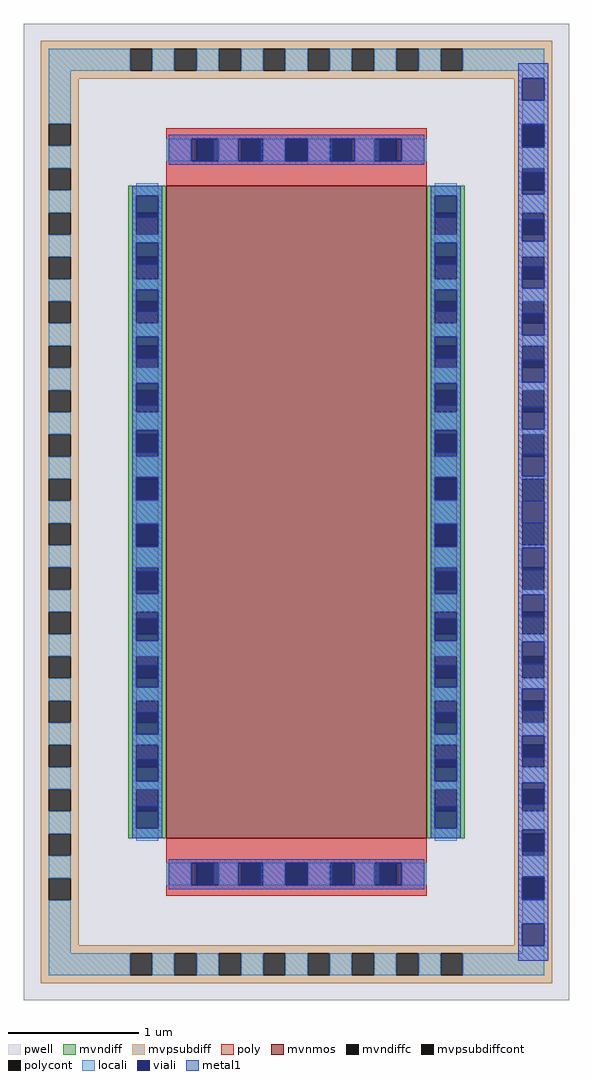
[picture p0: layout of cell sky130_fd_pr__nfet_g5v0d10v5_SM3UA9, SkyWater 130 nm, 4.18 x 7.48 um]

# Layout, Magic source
magic
tech sky130A
magscale 1 2
<< pwell >>
rect -418 -748 418 748
<< mvnmos >>
rect -200 -500 200 500
<< mvndiff >>
rect -258 459 -200 500
rect -258 425 -246 459
rect -212 425 -200 459
rect -258 391 -200 425
rect -258 357 -246 391
rect -212 357 -200 391
rect -258 323 -200 357
rect -258 289 -246 323
rect -212 289 -200 323
rect -258 255 -200 289
rect -258 221 -246 255
rect -212 221 -200 255
rect -258 187 -200 221
rect -258 153 -246 187
rect -212 153 -200 187
rect -258 119 -200 153
rect -258 85 -246 119
rect -212 85 -200 119
rect -258 51 -200 85
rect -258 17 -246 51
rect -212 17 -200 51
rect -258 -17 -200 17
rect -258 -51 -246 -17
rect -212 -51 -200 -17
rect -258 -85 -200 -51
rect -258 -119 -246 -85
rect -212 -119 -200 -85
rect -258 -153 -200 -119
rect -258 -187 -246 -153
rect -212 -187 -200 -153
rect -258 -221 -200 -187
rect -258 -255 -246 -221
rect -212 -255 -200 -221
rect -258 -289 -200 -255
rect -258 -323 -246 -289
rect -212 -323 -200 -289
rect -258 -357 -200 -323
rect -258 -391 -246 -357
rect -212 -391 -200 -357
rect -258 -425 -200 -391
rect -258 -459 -246 -425
rect -212 -459 -200 -425
rect -258 -500 -200 -459
rect 200 459 258 500
rect 200 425 212 459
rect 246 425 258 459
rect 200 391 258 425
rect 200 357 212 391
rect 246 357 258 391
rect 200 323 258 357
rect 200 289 212 323
rect 246 289 258 323
rect 200 255 258 289
rect 200 221 212 255
rect 246 221 258 255
rect 200 187 258 221
rect 200 153 212 187
rect 246 153 258 187
rect 200 119 258 153
rect 200 85 212 119
rect 246 85 258 119
rect 200 51 258 85
rect 200 17 212 51
rect 246 17 258 51
rect 200 -17 258 17
rect 200 -51 212 -17
rect 246 -51 258 -17
rect 200 -85 258 -51
rect 200 -119 212 -85
rect 246 -119 258 -85
rect 200 -153 258 -119
rect 200 -187 212 -153
rect 246 -187 258 -153
rect 200 -221 258 -187
rect 200 -255 212 -221
rect 246 -255 258 -221
rect 200 -289 258 -255
rect 200 -323 212 -289
rect 246 -323 258 -289
rect 200 -357 258 -323
rect 200 -391 212 -357
rect 246 -391 258 -357
rect 200 -425 258 -391
rect 200 -459 212 -425
rect 246 -459 258 -425
rect 200 -500 258 -459
<< mvndiffc >>
rect -246 425 -212 459
rect -246 357 -212 391
rect -246 289 -212 323
rect -246 221 -212 255
rect -246 153 -212 187
rect -246 85 -212 119
rect -246 17 -212 51
rect -246 -51 -212 -17
rect -246 -119 -212 -85
rect -246 -187 -212 -153
rect -246 -255 -212 -221
rect -246 -323 -212 -289
rect -246 -391 -212 -357
rect -246 -459 -212 -425
rect 212 425 246 459
rect 212 357 246 391
rect 212 289 246 323
rect 212 221 246 255
rect 212 153 246 187
rect 212 85 246 119
rect 212 17 246 51
rect 212 -51 246 -17
rect 212 -119 246 -85
rect 212 -187 246 -153
rect 212 -255 246 -221
rect 212 -323 246 -289
rect 212 -391 246 -357
rect 212 -459 246 -425
<< mvpsubdiff >>
rect -392 710 392 722
rect -392 676 -255 710
rect -221 676 -187 710
rect -153 676 -119 710
rect -85 676 -51 710
rect -17 676 17 710
rect 51 676 85 710
rect 119 676 153 710
rect 187 676 221 710
rect 255 676 392 710
rect -392 664 392 676
rect -392 595 -334 664
rect -392 561 -380 595
rect -346 561 -334 595
rect 334 595 392 664
rect -392 527 -334 561
rect -392 493 -380 527
rect -346 493 -334 527
rect 334 561 346 595
rect 380 561 392 595
rect 334 527 392 561
rect -392 459 -334 493
rect -392 425 -380 459
rect -346 425 -334 459
rect -392 391 -334 425
rect -392 357 -380 391
rect -346 357 -334 391
rect -392 323 -334 357
rect -392 289 -380 323
rect -346 289 -334 323
rect -392 255 -334 289
rect -392 221 -380 255
rect -346 221 -334 255
rect -392 187 -334 221
rect -392 153 -380 187
rect -346 153 -334 187
rect -392 119 -334 153
rect -392 85 -380 119
rect -346 85 -334 119
rect -392 51 -334 85
rect -392 17 -380 51
rect -346 17 -334 51
rect -392 -17 -334 17
rect -392 -51 -380 -17
rect -346 -51 -334 -17
rect -392 -85 -334 -51
rect -392 -119 -380 -85
rect -346 -119 -334 -85
rect -392 -153 -334 -119
rect -392 -187 -380 -153
rect -346 -187 -334 -153
rect -392 -221 -334 -187
rect -392 -255 -380 -221
rect -346 -255 -334 -221
rect -392 -289 -334 -255
rect -392 -323 -380 -289
rect -346 -323 -334 -289
rect -392 -357 -334 -323
rect -392 -391 -380 -357
rect -346 -391 -334 -357
rect -392 -425 -334 -391
rect -392 -459 -380 -425
rect -346 -459 -334 -425
rect -392 -493 -334 -459
rect -392 -527 -380 -493
rect -346 -527 -334 -493
rect 334 493 346 527
rect 380 493 392 527
rect 334 459 392 493
rect 334 425 346 459
rect 380 425 392 459
rect 334 391 392 425
rect 334 357 346 391
rect 380 357 392 391
rect 334 323 392 357
rect 334 289 346 323
rect 380 289 392 323
rect 334 255 392 289
rect 334 221 346 255
rect 380 221 392 255
rect 334 187 392 221
rect 334 153 346 187
rect 380 153 392 187
rect 334 119 392 153
rect 334 85 346 119
rect 380 85 392 119
rect 334 51 392 85
rect 334 17 346 51
rect 380 17 392 51
rect 334 -17 392 17
rect 334 -51 346 -17
rect 380 -51 392 -17
rect 334 -85 392 -51
rect 334 -119 346 -85
rect 380 -119 392 -85
rect 334 -153 392 -119
rect 334 -187 346 -153
rect 380 -187 392 -153
rect 334 -221 392 -187
rect 334 -255 346 -221
rect 380 -255 392 -221
rect 334 -289 392 -255
rect 334 -323 346 -289
rect 380 -323 392 -289
rect 334 -357 392 -323
rect 334 -391 346 -357
rect 380 -391 392 -357
rect 334 -425 392 -391
rect 334 -459 346 -425
rect 380 -459 392 -425
rect 334 -493 392 -459
rect -392 -561 -334 -527
rect -392 -595 -380 -561
rect -346 -595 -334 -561
rect 334 -527 346 -493
rect 380 -527 392 -493
rect 334 -561 392 -527
rect -392 -664 -334 -595
rect 334 -595 346 -561
rect 380 -595 392 -561
rect 334 -664 392 -595
rect -392 -676 392 -664
rect -392 -710 -255 -676
rect -221 -710 -187 -676
rect -153 -710 -119 -676
rect -85 -710 -51 -676
rect -17 -710 17 -676
rect 51 -710 85 -676
rect 119 -710 153 -676
rect 187 -710 221 -676
rect 255 -710 392 -676
rect -392 -722 392 -710
<< mvpsubdiffcont >>
rect -255 676 -221 710
rect -187 676 -153 710
rect -119 676 -85 710
rect -51 676 -17 710
rect 17 676 51 710
rect 85 676 119 710
rect 153 676 187 710
rect 221 676 255 710
rect -380 561 -346 595
rect -380 493 -346 527
rect 346 561 380 595
rect -380 425 -346 459
rect -380 357 -346 391
rect -380 289 -346 323
rect -380 221 -346 255
rect -380 153 -346 187
rect -380 85 -346 119
rect -380 17 -346 51
rect -380 -51 -346 -17
rect -380 -119 -346 -85
rect -380 -187 -346 -153
rect -380 -255 -346 -221
rect -380 -323 -346 -289
rect -380 -391 -346 -357
rect -380 -459 -346 -425
rect -380 -527 -346 -493
rect 346 493 380 527
rect 346 425 380 459
rect 346 357 380 391
rect 346 289 380 323
rect 346 221 380 255
rect 346 153 380 187
rect 346 85 380 119
rect 346 17 380 51
rect 346 -51 380 -17
rect 346 -119 380 -85
rect 346 -187 380 -153
rect 346 -255 380 -221
rect 346 -323 380 -289
rect 346 -391 380 -357
rect 346 -459 380 -425
rect -380 -595 -346 -561
rect 346 -527 380 -493
rect 346 -595 380 -561
rect -255 -710 -221 -676
rect -187 -710 -153 -676
rect -119 -710 -85 -676
rect -51 -710 -17 -676
rect 17 -710 51 -676
rect 85 -710 119 -676
rect 153 -710 187 -676
rect 221 -710 255 -676
<< poly >>
rect -200 572 200 588
rect -200 538 -153 572
rect -119 538 -85 572
rect -51 538 -17 572
rect 17 538 51 572
rect 85 538 119 572
rect 153 538 200 572
rect -200 500 200 538
rect -200 -538 200 -500
rect -200 -572 -153 -538
rect -119 -572 -85 -538
rect -51 -572 -17 -538
rect 17 -572 51 -538
rect 85 -572 119 -538
rect 153 -572 200 -538
rect -200 -588 200 -572
<< polycont >>
rect -153 538 -119 572
rect -85 538 -51 572
rect -17 538 17 572
rect 51 538 85 572
rect 119 538 153 572
rect -153 -572 -119 -538
rect -85 -572 -51 -538
rect -17 -572 17 -538
rect 51 -572 85 -538
rect 119 -572 153 -538
<< locali >>
rect -380 676 -255 710
rect -221 676 -187 710
rect -153 676 -119 710
rect -85 676 -51 710
rect -17 676 17 710
rect 51 676 85 710
rect 119 676 153 710
rect 187 676 221 710
rect 255 676 380 710
rect -380 595 -346 676
rect 346 665 380 676
rect 346 595 380 631
rect -380 527 -346 561
rect -200 538 -161 572
rect -119 538 -89 572
rect -51 538 -17 572
rect 17 538 51 572
rect 89 538 119 572
rect 161 538 200 572
rect 346 527 380 559
rect -380 459 -346 493
rect -380 391 -346 425
rect -380 323 -346 357
rect -380 255 -346 289
rect -380 187 -346 221
rect -380 119 -346 153
rect -380 51 -346 85
rect -380 -17 -346 17
rect -380 -85 -346 -51
rect -380 -153 -346 -119
rect -380 -221 -346 -187
rect -380 -289 -346 -255
rect -380 -357 -346 -323
rect -380 -425 -346 -391
rect -380 -493 -346 -459
rect -246 485 -212 504
rect -246 413 -212 425
rect -246 341 -212 357
rect -246 269 -212 289
rect -246 197 -212 221
rect -246 125 -212 153
rect -246 53 -212 85
rect -246 -17 -212 17
rect -246 -85 -212 -53
rect -246 -153 -212 -125
rect -246 -221 -212 -197
rect -246 -289 -212 -269
rect -246 -357 -212 -341
rect -246 -425 -212 -413
rect -246 -504 -212 -485
rect 212 485 246 504
rect 212 413 246 425
rect 212 341 246 357
rect 212 269 246 289
rect 212 197 246 221
rect 212 125 246 153
rect 212 53 246 85
rect 212 -17 246 17
rect 212 -85 246 -53
rect 212 -153 246 -125
rect 212 -221 246 -197
rect 212 -289 246 -269
rect 212 -357 246 -341
rect 212 -425 246 -413
rect 212 -504 246 -485
rect 346 459 380 487
rect 346 391 380 415
rect 346 323 380 343
rect 346 255 380 271
rect 346 187 380 199
rect 346 119 380 127
rect 346 51 380 55
rect 346 -55 380 -51
rect 346 -127 380 -119
rect 346 -199 380 -187
rect 346 -271 380 -255
rect 346 -343 380 -323
rect 346 -415 380 -391
rect 346 -487 380 -459
rect -380 -561 -346 -527
rect -200 -572 -161 -538
rect -119 -572 -89 -538
rect -51 -572 -17 -538
rect 17 -572 51 -538
rect 89 -572 119 -538
rect 161 -572 200 -538
rect 346 -559 380 -527
rect -380 -676 -346 -595
rect 346 -631 380 -595
rect 346 -676 380 -665
rect -380 -710 -255 -676
rect -221 -710 -187 -676
rect -153 -710 -119 -676
rect -85 -710 -51 -676
rect -17 -710 17 -676
rect 51 -710 85 -676
rect 119 -710 153 -676
rect 187 -710 221 -676
rect 255 -710 380 -676
<< viali >>
rect 346 631 380 665
rect -161 538 -153 572
rect -153 538 -127 572
rect -89 538 -85 572
rect -85 538 -55 572
rect -17 538 17 572
rect 55 538 85 572
rect 85 538 89 572
rect 127 538 153 572
rect 153 538 161 572
rect 346 561 380 593
rect 346 559 380 561
rect -246 459 -212 485
rect -246 451 -212 459
rect -246 391 -212 413
rect -246 379 -212 391
rect -246 323 -212 341
rect -246 307 -212 323
rect -246 255 -212 269
rect -246 235 -212 255
rect -246 187 -212 197
rect -246 163 -212 187
rect -246 119 -212 125
rect -246 91 -212 119
rect -246 51 -212 53
rect -246 19 -212 51
rect -246 -51 -212 -19
rect -246 -53 -212 -51
rect -246 -119 -212 -91
rect -246 -125 -212 -119
rect -246 -187 -212 -163
rect -246 -197 -212 -187
rect -246 -255 -212 -235
rect -246 -269 -212 -255
rect -246 -323 -212 -307
rect -246 -341 -212 -323
rect -246 -391 -212 -379
rect -246 -413 -212 -391
rect -246 -459 -212 -451
rect -246 -485 -212 -459
rect 212 459 246 485
rect 212 451 246 459
rect 212 391 246 413
rect 212 379 246 391
rect 212 323 246 341
rect 212 307 246 323
rect 212 255 246 269
rect 212 235 246 255
rect 212 187 246 197
rect 212 163 246 187
rect 212 119 246 125
rect 212 91 246 119
rect 212 51 246 53
rect 212 19 246 51
rect 212 -51 246 -19
rect 212 -53 246 -51
rect 212 -119 246 -91
rect 212 -125 246 -119
rect 212 -187 246 -163
rect 212 -197 246 -187
rect 212 -255 246 -235
rect 212 -269 246 -255
rect 212 -323 246 -307
rect 212 -341 246 -323
rect 212 -391 246 -379
rect 212 -413 246 -391
rect 212 -459 246 -451
rect 212 -485 246 -459
rect 346 493 380 521
rect 346 487 380 493
rect 346 425 380 449
rect 346 415 380 425
rect 346 357 380 377
rect 346 343 380 357
rect 346 289 380 305
rect 346 271 380 289
rect 346 221 380 233
rect 346 199 380 221
rect 346 153 380 161
rect 346 127 380 153
rect 346 85 380 89
rect 346 55 380 85
rect 346 -17 380 17
rect 346 -85 380 -55
rect 346 -89 380 -85
rect 346 -153 380 -127
rect 346 -161 380 -153
rect 346 -221 380 -199
rect 346 -233 380 -221
rect 346 -289 380 -271
rect 346 -305 380 -289
rect 346 -357 380 -343
rect 346 -377 380 -357
rect 346 -425 380 -415
rect 346 -449 380 -425
rect 346 -493 380 -487
rect 346 -521 380 -493
rect -161 -572 -153 -538
rect -153 -572 -127 -538
rect -89 -572 -85 -538
rect -85 -572 -55 -538
rect -17 -572 17 -538
rect 55 -572 85 -538
rect 85 -572 89 -538
rect 127 -572 153 -538
rect 153 -572 161 -538
rect 346 -561 380 -559
rect 346 -593 380 -561
rect 346 -665 380 -631
<< metal1 >>
rect 340 665 386 688
rect 340 631 346 665
rect 380 631 386 665
rect 340 593 386 631
rect -196 572 196 578
rect -196 538 -161 572
rect -127 538 -89 572
rect -55 538 -17 572
rect 17 538 55 572
rect 89 538 127 572
rect 161 538 196 572
rect -196 532 196 538
rect 340 559 346 593
rect 380 559 386 593
rect 340 521 386 559
rect -252 485 -206 500
rect -252 451 -246 485
rect -212 451 -206 485
rect -252 413 -206 451
rect -252 379 -246 413
rect -212 379 -206 413
rect -252 341 -206 379
rect -252 307 -246 341
rect -212 307 -206 341
rect -252 269 -206 307
rect -252 235 -246 269
rect -212 235 -206 269
rect -252 197 -206 235
rect -252 163 -246 197
rect -212 163 -206 197
rect -252 125 -206 163
rect -252 91 -246 125
rect -212 91 -206 125
rect -252 53 -206 91
rect -252 19 -246 53
rect -212 19 -206 53
rect -252 -19 -206 19
rect -252 -53 -246 -19
rect -212 -53 -206 -19
rect -252 -91 -206 -53
rect -252 -125 -246 -91
rect -212 -125 -206 -91
rect -252 -163 -206 -125
rect -252 -197 -246 -163
rect -212 -197 -206 -163
rect -252 -235 -206 -197
rect -252 -269 -246 -235
rect -212 -269 -206 -235
rect -252 -307 -206 -269
rect -252 -341 -246 -307
rect -212 -341 -206 -307
rect -252 -379 -206 -341
rect -252 -413 -246 -379
rect -212 -413 -206 -379
rect -252 -451 -206 -413
rect -252 -485 -246 -451
rect -212 -485 -206 -451
rect -252 -500 -206 -485
rect 206 485 252 500
rect 206 451 212 485
rect 246 451 252 485
rect 206 413 252 451
rect 206 379 212 413
rect 246 379 252 413
rect 206 341 252 379
rect 206 307 212 341
rect 246 307 252 341
rect 206 269 252 307
rect 206 235 212 269
rect 246 235 252 269
rect 206 197 252 235
rect 206 163 212 197
rect 246 163 252 197
rect 206 125 252 163
rect 206 91 212 125
rect 246 91 252 125
rect 206 53 252 91
rect 206 19 212 53
rect 246 19 252 53
rect 206 -19 252 19
rect 206 -53 212 -19
rect 246 -53 252 -19
rect 206 -91 252 -53
rect 206 -125 212 -91
rect 246 -125 252 -91
rect 206 -163 252 -125
rect 206 -197 212 -163
rect 246 -197 252 -163
rect 206 -235 252 -197
rect 206 -269 212 -235
rect 246 -269 252 -235
rect 206 -307 252 -269
rect 206 -341 212 -307
rect 246 -341 252 -307
rect 206 -379 252 -341
rect 206 -413 212 -379
rect 246 -413 252 -379
rect 206 -451 252 -413
rect 206 -485 212 -451
rect 246 -485 252 -451
rect 206 -500 252 -485
rect 340 487 346 521
rect 380 487 386 521
rect 340 449 386 487
rect 340 415 346 449
rect 380 415 386 449
rect 340 377 386 415
rect 340 343 346 377
rect 380 343 386 377
rect 340 305 386 343
rect 340 271 346 305
rect 380 271 386 305
rect 340 233 386 271
rect 340 199 346 233
rect 380 199 386 233
rect 340 161 386 199
rect 340 127 346 161
rect 380 127 386 161
rect 340 89 386 127
rect 340 55 346 89
rect 380 55 386 89
rect 340 17 386 55
rect 340 -17 346 17
rect 380 -17 386 17
rect 340 -55 386 -17
rect 340 -89 346 -55
rect 380 -89 386 -55
rect 340 -127 386 -89
rect 340 -161 346 -127
rect 380 -161 386 -127
rect 340 -199 386 -161
rect 340 -233 346 -199
rect 380 -233 386 -199
rect 340 -271 386 -233
rect 340 -305 346 -271
rect 380 -305 386 -271
rect 340 -343 386 -305
rect 340 -377 346 -343
rect 380 -377 386 -343
rect 340 -415 386 -377
rect 340 -449 346 -415
rect 380 -449 386 -415
rect 340 -487 386 -449
rect 340 -521 346 -487
rect 380 -521 386 -487
rect -196 -538 196 -532
rect -196 -572 -161 -538
rect -127 -572 -89 -538
rect -55 -572 -17 -538
rect 17 -572 55 -538
rect 89 -572 127 -538
rect 161 -572 196 -538
rect -196 -578 196 -572
rect 340 -559 386 -521
rect 340 -593 346 -559
rect 380 -593 386 -559
rect 340 -631 386 -593
rect 340 -665 346 -631
rect 380 -665 386 -631
rect 340 -688 386 -665
<< properties >>
string FIXED_BBOX -363 -693 363 693
<< end >>
